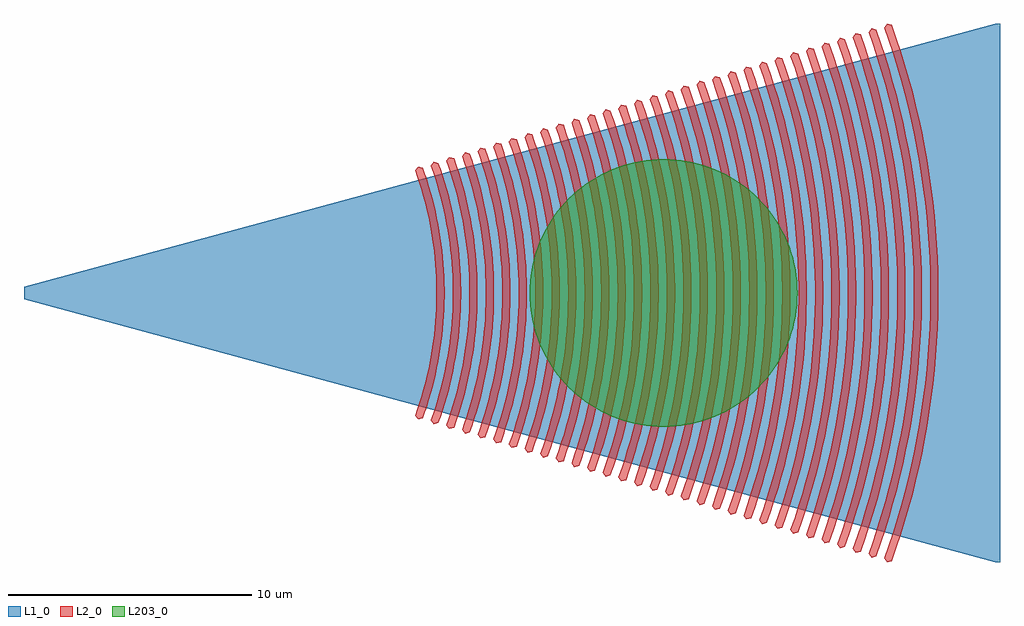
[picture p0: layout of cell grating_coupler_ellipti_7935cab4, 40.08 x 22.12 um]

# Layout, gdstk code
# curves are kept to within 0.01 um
import gdstk
lib = gdstk.Library(unit=1e-6, precision=1e-09)
def P(c, l, *ps):  # polygons
    for p in ps: c.add(gdstk.Polygon(p, *l))
L1_0 = (1, 0)
L2_0 = (2, 0)
L203_0 = (203, 0)

circle_layer203_0_radius = lib.new_cell('circle_layer203_0_radius5p5')
P(circle_layer203_0_radius, L203_0, [(5.5,0),(5.495,0.24),(5.453,0.718),(5.37,1.19),(5.245,1.654),(5.081,2.105),(4.879,2.54),(4.639,2.955),(4.505,3.155),(4.213,3.535),(3.889,3.889),(3.535,4.213),(3.155,4.505),(2.955,4.639),(2.54,4.879),(2.105,5.081),(1.654,5.245),(1.19,5.37),(0.718,5.453),(0.24,5.495),(0,5.5),(-0.24,5.495),(-0.718,5.453),(-1.19,5.37),(-1.654,5.245),(-2.105,5.081),(-2.54,4.879),(-2.955,4.639),(-3.155,4.505),(-3.535,4.213),(-3.889,3.889),(-4.213,3.535),(-4.505,3.155),(-4.639,2.955),(-4.879,2.54),(-5.081,2.105),(-5.245,1.654),(-5.37,1.19),(-5.453,0.718),(-5.495,0.24),(-5.5,0),(-5.495,-0.24),(-5.453,-0.718),(-5.37,-1.19),(-5.245,-1.654),(-5.081,-2.105),(-4.879,-2.54),(-4.639,-2.955),(-4.505,-3.155),(-4.213,-3.535),(-3.889,-3.889),(-3.535,-4.213),(-3.155,-4.505),(-2.955,-4.639),(-2.54,-4.879),(-2.105,-5.081),(-1.654,-5.245),(-1.19,-5.37),(-0.718,-5.453),(-0.24,-5.495),(0,-5.5),(0.24,-5.495),(0.718,-5.453),(1.19,-5.37),(1.654,-5.245),(2.105,-5.081),(2.54,-4.879),(2.955,-4.639),(3.155,-4.505),(3.535,-4.213),(3.889,-3.889),(4.213,-3.535),(4.505,-3.155),(4.639,-2.955),(4.879,-2.54),(5.081,-2.105),(5.245,-1.654),(5.37,-1.19),(5.453,-0.718),(5.495,-0.24)])

grating_coupler_ellipti_ = lib.new_cell('grating_coupler_ellipti_7935cab4')
P(grating_coupler_ellipti_, L1_0, [(0.471,-0.25),(0.471,0.25),(40.352,11.062),(40.552,11.062),(40.552,-11.062),(40.352,-11.062)])
P(grating_coupler_ellipti_, L2_0, [(16.657,-5.191),(16.536,-5.031),(16.783,-4.28),(16.925,-3.773),(17.155,-2.746),(17.279,-1.967),(17.339,-1.444),(17.381,-0.92),(17.409,-0.131),(17.381,0.92),(17.279,1.967),(17.155,2.746),(16.989,3.518),(16.783,4.28),(16.536,5.031),(16.657,5.191),(16.85,5.141),(17.177,4.117),(17.374,3.334),(17.529,2.542),(17.642,1.744),(17.713,0.94),(17.742,0.134),(17.728,-0.672),(17.671,-1.476),(17.572,-2.277),(17.43,-3.071),(17.177,-4.117),(16.85,-5.141)],
  [(17.299,-5.386),(17.178,-5.227),(17.434,-4.446),(17.649,-3.654),(17.821,-2.853),(17.912,-2.314),(18.037,-1.228),(18.085,-0.137),(18.08,0.41),(18.037,1.228),(17.912,2.314),(17.821,2.853),(17.649,3.654),(17.434,4.446),(17.178,5.227),(17.299,5.386),(17.492,5.336),(17.671,4.808),(17.831,4.273),(18.036,3.461),(18.197,2.639),(18.315,1.81),(18.388,0.976),(18.418,0.14),(18.403,-0.697),(18.344,-1.533),(18.241,-2.363),(18.094,-3.188),(17.831,-4.273),(17.671,-4.808),(17.492,-5.336)],
  [(17.941,-5.582),(17.82,-5.422),(18.086,-4.612),(18.239,-4.066),(18.432,-3.238),(18.581,-2.4),(18.656,-1.838),(18.711,-1.274),(18.761,-0.142),(18.756,0.425),(18.711,1.274),(18.656,1.838),(18.581,2.4),(18.432,3.238),(18.239,4.066),(18.086,4.612),(17.82,5.422),(17.941,5.582),(18.134,5.532),(18.405,4.708),(18.698,3.588),(18.865,2.736),(18.987,1.876),(19.063,1.012),(19.094,0.145),(19.079,-0.723),(19.017,-1.589),(18.911,-2.45),(18.758,-3.305),(18.632,-3.87),(18.485,-4.43),(18.319,-4.985),(18.134,-5.532)],
  [(18.583,-5.778),(18.462,-5.618),(18.737,-4.779),(18.968,-3.928),(19.153,-3.066),(19.251,-2.487),(19.328,-1.905),(19.385,-1.32),(19.421,-0.734),(19.437,-0.147),(19.432,0.44),(19.406,1.027),(19.359,1.613),(19.251,2.487),(19.153,3.066),(18.968,3.928),(18.737,4.779),(18.462,5.618),(18.583,5.778),(18.777,5.727),(18.968,5.161),(19.14,4.586),(19.291,4.006),(19.422,3.422),(19.58,2.537),(19.691,1.645),(19.754,0.749),(19.77,0.15),(19.754,-0.749),(19.691,-1.645),(19.58,-2.537),(19.422,-3.422),(19.291,-4.006),(19.14,-4.586),(18.968,-5.161),(18.777,-5.727)],
  [(19.225,-5.973),(19.104,-5.814),(19.389,-4.945),(19.553,-4.36),(19.76,-3.471),(19.92,-2.574),(20,-1.971),(20.059,-1.366),(20.097,-0.759),(20.113,-0.152),(20.107,0.456),(20.081,1.063),(20.033,1.669),(19.92,2.574),(19.76,3.471),(19.553,4.36),(19.389,4.945),(19.104,5.814),(19.225,5.973),(19.419,5.923),(19.617,5.337),(19.794,4.743),(19.951,4.143),(20.087,3.538),(20.25,2.623),(20.364,1.701),(20.413,1.084),(20.446,0.155),(20.429,-0.774),(20.364,-1.701),(20.25,-2.623),(20.087,-3.538),(19.951,-4.143),(19.794,-4.743),(19.617,-5.337),(19.419,-5.923)],
  [(19.867,-6.169),(19.746,-6.009),(20.041,-5.112),(20.287,-4.202),(20.485,-3.28),(20.59,-2.66),(20.673,-2.037),(20.733,-1.412),(20.772,-0.785),(20.789,-0.157),(20.783,0.471),(20.756,1.099),(20.673,2.037),(20.59,2.66),(20.485,3.28),(20.287,4.202),(20.041,5.112),(19.746,6.009),(19.867,6.169),(20.061,6.119),(20.265,5.513),(20.449,4.9),(20.611,4.28),(20.751,3.655),(20.919,2.71),(21.037,1.757),(21.105,0.8),(21.122,0.16),(21.105,-0.8),(21.037,-1.757),(20.919,-2.71),(20.751,-3.655),(20.611,-4.28),(20.449,-4.9),(20.265,-5.513),(20.061,-6.119)],
  [(20.509,-6.364),(20.388,-6.205),(20.692,-5.278),(20.947,-4.338),(21.089,-3.705),(21.259,-2.747),(21.345,-2.104),(21.408,-1.458),(21.448,-0.811),(21.465,-0.162),(21.448,0.811),(21.408,1.458),(21.345,2.104),(21.259,2.747),(21.089,3.705),(20.947,4.338),(20.692,5.278),(20.388,6.205),(20.509,6.364),(20.703,6.314),(20.914,5.689),(21.103,5.056),(21.27,4.417),(21.415,3.772),(21.589,2.797),(21.711,1.813),(21.763,1.155),(21.798,0.165),(21.78,-0.825),(21.711,-1.813),(21.589,-2.797),(21.415,-3.772),(21.27,-4.417),(21.103,-5.056),(20.914,-5.689),(20.703,-6.314)],
  [(21.151,-6.56),(21.03,-6.4),(21.245,-5.765),(21.525,-4.8),(21.753,-3.822),(21.929,-2.833),(22.017,-2.17),(22.082,-1.504),(22.123,-0.836),(22.141,-0.167),(22.135,0.502),(22.082,1.504),(22.017,2.17),(21.929,2.833),(21.753,3.822),(21.525,4.8),(21.344,5.445),(21.03,6.4),(21.151,6.56),(21.345,6.51),(21.562,5.866),(21.758,5.213),(21.93,4.554),(22.079,3.889),(22.258,2.883),(22.384,1.87),(22.438,1.191),(22.474,0.17),(22.456,-0.851),(22.384,-1.87),(22.306,-2.546),(22.145,-3.555),(22.007,-4.222),(21.847,-4.884),(21.663,-5.54),(21.456,-6.189),(21.345,-6.51)],
  [(21.793,-6.756),(21.672,-6.596),(21.894,-5.941),(22.182,-4.946),(22.417,-3.939),(22.598,-2.92),(22.689,-2.236),(22.756,-1.55),(22.798,-0.862),(22.817,-0.172),(22.811,0.517),(22.756,1.55),(22.689,2.236),(22.598,2.92),(22.417,3.939),(22.182,4.946),(21.996,5.611),(21.672,6.596),(21.793,6.756),(21.987,6.705),(22.102,6.375),(22.315,5.706),(22.504,5.031),(22.743,4.006),(22.928,2.97),(23.02,2.275),(23.113,1.227),(23.15,0.175),(23.144,-0.526),(23.088,-1.576),(22.977,-2.623),(22.811,-3.662),(22.669,-4.349),(22.504,-5.031),(22.315,-5.706),(22.102,-6.375),(21.987,-6.705)],
  [(22.435,-6.951),(22.314,-6.792),(22.647,-5.777),(22.926,-4.749),(23.081,-4.056),(23.268,-3.007),(23.361,-2.303),(23.43,-1.596),(23.474,-0.887),(23.493,-0.178),(23.474,0.887),(23.43,1.596),(23.361,2.303),(23.268,3.007),(23.081,4.056),(22.926,4.749),(22.647,5.777),(22.314,6.792),(22.435,6.951),(22.629,6.901),(22.747,6.561),(23.067,5.526),(23.249,4.827),(23.407,4.123),(23.54,3.413),(23.692,2.341),(23.788,1.262),(23.826,0.18),(23.807,-0.902),(23.762,-1.622),(23.648,-2.699),(23.477,-3.768),(23.331,-4.476),(23.161,-5.177),(22.86,-6.218),(22.629,-6.901)],
  [(23.077,-7.147),(22.956,-6.987),(23.299,-5.944),(23.496,-5.24),(23.745,-4.172),(23.937,-3.093),(24.034,-2.369),(24.104,-1.642),(24.149,-0.913),(24.169,-0.183),(24.162,0.548),(24.13,1.278),(24.034,2.369),(23.937,3.093),(23.745,4.172),(23.496,5.24),(23.299,5.944),(22.956,6.987),(23.077,7.147),(23.271,7.097),(23.392,6.747),(23.721,5.683),(23.909,4.964),(24.071,4.239),(24.267,3.143),(24.404,2.038),(24.482,0.928),(24.502,0.186),(24.482,-0.928),(24.404,-2.038),(24.267,-3.143),(24.143,-3.875),(23.909,-4.964),(23.721,-5.683),(23.508,-6.394),(23.271,-7.097)],
  [(23.719,-7.342),(23.598,-7.183),(23.84,-6.469),(24.153,-5.387),(24.409,-4.289),(24.607,-3.18),(24.706,-2.435),(24.778,-1.688),(24.825,-0.938),(24.845,-0.188),(24.838,0.563),(24.805,1.313),(24.706,2.435),(24.607,3.18),(24.409,4.289),(24.153,5.387),(23.84,6.469),(23.598,7.183),(23.719,7.342),(23.913,7.292),(24.038,6.933),(24.376,5.839),(24.569,5.101),(24.735,4.356),(24.876,3.606),(25.037,2.474),(25.137,1.334),(25.178,0.191),(25.157,-0.953),(25.077,-2.094),(24.99,-2.852),(24.809,-3.982),(24.569,-5.101),(24.376,-5.839),(24.157,-6.57),(23.913,-7.292)],
  [(24.361,-7.538),(24.24,-7.379),(24.602,-6.277),(24.905,-5.159),(25.148,-4.027),(25.276,-3.267),(25.378,-2.502),(25.453,-1.734),(25.5,-0.964),(25.521,-0.193),(25.514,0.579),(25.453,1.734),(25.378,2.502),(25.276,3.267),(25.148,4.027),(24.905,5.159),(24.602,6.277),(24.24,7.379),(24.361,7.538),(24.555,7.488),(24.683,7.119),(24.921,6.372),(25.133,5.618),(25.399,4.473),(25.544,3.703),(25.709,2.54),(25.812,1.37),(25.854,0.196),(25.847,-0.587),(25.785,-1.76),(25.661,-2.929),(25.475,-4.089),(25.317,-4.856),(25.133,-5.618),(24.805,-6.747),(24.555,-7.488)],
  [(25.003,-7.734),(24.882,-7.574),(25.254,-6.443),(25.564,-5.296),(25.814,-4.134),(25.946,-3.353),(26.05,-2.568),(26.127,-1.78),(26.176,-0.99),(26.197,-0.198),(26.19,0.594),(26.155,1.385),(26.092,2.174),(25.946,3.353),(25.814,4.134),(25.564,5.296),(25.254,6.443),(24.882,7.574),(25.003,7.734),(25.197,7.684),(25.329,7.305),(25.685,6.152),(25.888,5.374),(26.064,4.59),(26.212,3.8),(26.381,2.606),(26.487,1.405),(26.53,0.201),(26.523,-0.603),(26.459,-1.806),(26.332,-3.005),(26.141,-4.195),(25.979,-4.983),(25.79,-5.764),(25.454,-6.923),(25.197,-7.684)],
  [(25.645,-7.929),(25.524,-7.77),(25.785,-6.998),(26.125,-5.827),(26.402,-4.64),(26.615,-3.44),(26.722,-2.634),(26.801,-1.826),(26.851,-1.015),(26.873,-0.203),(26.865,0.609),(26.83,1.421),(26.765,2.231),(26.615,3.44),(26.402,4.64),(26.125,5.827),(25.785,6.998),(25.524,7.77),(25.645,7.929),(25.839,7.879),(25.974,7.491),(26.224,6.705),(26.447,5.911),(26.728,4.707),(26.945,3.49),(27.097,2.263),(27.184,1.03),(27.206,0.206),(27.184,-1.03),(27.097,-2.263),(26.945,-3.49),(26.807,-4.302),(26.548,-5.511),(26.339,-6.309),(26.103,-7.099),(25.839,-7.879)],
  [(26.287,-8.125),(26.167,-7.965),(26.557,-6.776),(26.884,-5.57),(27.066,-4.756),(27.285,-3.526),(27.395,-2.701),(27.475,-1.872),(27.527,-1.041),(27.549,-0.208),(27.541,0.625),(27.505,1.456),(27.439,2.287),(27.285,3.526),(27.066,4.756),(26.884,5.57),(26.557,6.776),(26.167,7.965),(26.287,8.125),(26.481,8.075),(26.619,7.677),(26.994,6.466),(27.207,5.648),(27.392,4.824),(27.614,3.576),(27.77,2.319),(27.837,1.477),(27.882,0.211),(27.859,-1.055),(27.77,-2.319),(27.614,-3.576),(27.473,-4.409),(27.303,-5.237),(27.104,-6.058),(26.751,-7.275),(26.481,-8.075)],
  [(26.929,-8.32),(26.809,-8.161),(27.209,-6.942),(27.439,-6.12),(27.73,-4.873),(27.887,-4.034),(28.014,-3.191),(28.112,-2.343),(28.202,-1.066),(28.225,-0.213),(28.202,1.066),(28.149,1.918),(28.067,2.767),(27.954,3.613),(27.73,4.873),(27.439,6.12),(27.209,6.942),(26.809,8.161),(26.929,8.32),(27.123,8.27),(27.265,7.863),(27.648,6.622),(27.867,5.785),(28.056,4.94),(28.284,3.663),(28.398,2.805),(28.512,1.513),(28.558,0.216),(28.535,-1.081),(28.443,-2.375),(28.284,-3.663),(28.139,-4.516),(27.867,-5.785),(27.648,-6.622),(27.4,-7.452),(27.123,-8.27)],
  [(27.571,-8.516),(27.451,-8.357),(27.731,-7.527),(28.096,-6.267),(28.394,-4.99),(28.555,-4.131),(28.739,-2.833),(28.824,-1.964),(28.877,-1.092),(28.901,-0.218),(28.893,0.655),(28.824,1.964),(28.739,2.833),(28.624,3.7),(28.394,4.99),(28.203,5.843),(27.86,7.109),(27.451,8.357),(27.571,8.516),(27.765,8.466),(27.91,8.049),(28.303,6.779),(28.526,5.922),(28.72,5.057),(28.953,3.749),(29.117,2.431),(29.187,1.549),(29.234,0.221),(29.21,-1.106),(29.117,-2.431),(28.953,-3.749),(28.805,-4.623),(28.627,-5.49),(28.418,-6.351),(28.048,-7.628),(27.765,-8.466)],
  [(28.213,-8.712),(28.093,-8.552),(28.38,-7.703),(28.753,-6.414),(29.058,-5.107),(29.223,-4.228),(29.356,-3.344),(29.498,-2.01),(29.553,-1.117),(29.577,-0.224),(29.569,0.671),(29.498,2.01),(29.411,2.9),(29.293,3.786),(29.058,5.107),(28.753,6.414),(28.38,7.703),(28.093,8.552),(28.213,8.712),(28.407,8.662),(28.556,8.235),(28.957,6.935),(29.186,6.058),(29.384,5.174),(29.623,3.836),(29.79,2.487),(29.886,1.132),(29.91,0.226),(29.886,-1.132),(29.83,-2.036),(29.686,-3.387),(29.471,-4.729),(29.186,-6.058),(28.957,-6.935),(28.697,-7.804),(28.407,-8.662)],
  [(28.856,-8.907),(28.735,-8.748),(29.163,-7.442),(29.522,-6.117),(29.722,-5.224),(29.963,-3.873),(30.083,-2.966),(30.172,-2.056),(30.228,-1.143),(30.252,-0.229),(30.244,0.686),(30.172,2.056),(30.083,2.966),(29.963,3.873),(29.722,5.224),(29.522,6.117),(29.163,7.442),(28.735,8.748),(28.856,8.907),(29.049,8.857),(29.201,8.421),(29.482,7.537),(29.733,6.645),(30.048,5.291),(30.292,3.923),(30.463,2.544),(30.537,1.62),(30.585,0.232),(30.561,-1.158),(30.504,-2.082),(30.357,-3.464),(30.138,-4.836),(29.951,-5.744),(29.733,-6.645),(29.346,-7.98),(29.049,-8.857)],
  [(29.498,-9.103),(29.377,-8.943),(29.815,-7.608),(30.067,-6.707),(30.288,-5.798),(30.558,-4.421),(30.698,-3.497),(30.805,-2.567),(30.904,-1.168),(30.928,-0.234),(30.92,0.701),(30.879,1.635),(30.756,3.032),(30.632,3.959),(30.476,4.882),(30.182,6.254),(29.815,7.608),(29.377,8.943),(29.498,9.103),(29.691,9.053),(29.846,8.607),(30.134,7.704),(30.39,6.791),(30.712,5.408),(30.962,4.009),(31.086,3.071),(31.211,1.656),(31.261,0.237),(31.253,-0.71),(31.178,-2.128),(31.028,-3.54),(30.804,-4.943),(30.613,-5.871),(30.39,-6.791),(29.994,-8.156),(29.691,-9.053)],
  [(30.14,-9.299),(30.019,-9.139),(30.326,-8.232),(30.725,-6.854),(30.95,-5.925),(31.226,-4.518),(31.369,-3.573),(31.478,-2.624),(31.554,-1.671),(31.604,-0.239),(31.596,0.717),(31.554,1.671),(31.428,3.099),(31.302,4.046),(31.05,5.457),(30.725,6.854),(30.326,8.232),(30.019,9.139),(30.14,9.299),(30.333,9.248),(30.643,8.333),(31.047,6.938),(31.377,5.525),(31.631,4.096),(31.81,2.656),(31.912,1.209),(31.937,0.242),(31.912,-1.209),(31.81,-2.656),(31.631,-4.096),(31.47,-5.05),(31.275,-5.998),(31.047,-6.938),(30.643,-8.333),(30.333,-9.248)],
  [(30.782,-9.494),(30.661,-9.335),(30.974,-8.408),(31.382,-7.001),(31.612,-6.052),(31.894,-4.615),(32.1,-3.165),(32.194,-2.194),(32.255,-1.22),(32.28,-0.244),(32.272,0.732),(32.229,1.707),(32.1,3.165),(31.971,4.133),(31.714,5.574),(31.382,7.001),(30.974,8.408),(30.661,9.335),(30.782,9.494),(30.975,9.444),(31.291,8.509),(31.704,7.085),(32.041,5.641),(32.301,4.182),(32.431,3.203),(32.561,1.727),(32.613,0.247),(32.587,-1.234),(32.483,-2.712),(32.301,-4.182),(32.136,-5.157),(31.825,-6.606),(31.575,-7.562),(31.291,-8.509),(30.975,-9.444)],
  [(31.424,-9.69),(31.303,-9.53),(31.623,-8.584),(32.039,-7.147),(32.379,-5.691),(32.562,-4.711),(32.711,-3.726),(32.869,-2.24),(32.93,-1.245),(32.956,-0.249),(32.948,0.747),(32.869,2.24),(32.772,3.231),(32.641,4.219),(32.475,5.202),(32.161,6.664),(31.77,8.107),(31.303,9.53),(31.424,9.69),(31.617,9.64),(31.94,8.685),(32.361,7.232),(32.705,5.758),(32.97,4.269),(33.103,3.27),(33.236,1.763),(33.289,0.252),(33.281,-0.756),(33.201,-2.266),(33.041,-3.77),(32.802,-5.263),(32.599,-6.251),(32.361,-7.232),(31.94,-8.685),(31.617,-9.64)],
  [(32.066,-9.885),(31.945,-9.726),(32.422,-8.274),(32.696,-7.294),(33.043,-5.808),(33.23,-4.808),(33.382,-3.802),(33.543,-2.286),(33.605,-1.271),(33.632,-0.254),(33.623,0.763),(33.579,1.778),(33.498,2.792),(33.31,4.306),(33.043,5.808),(32.696,7.294),(32.422,8.274),(31.945,9.726),(32.066,9.885),(32.259,9.835),(32.589,8.861),(33.018,7.378),(33.369,5.875),(33.64,4.356),(33.775,3.336),(33.911,1.799),(33.965,0.257),(33.938,-1.285),(33.875,-2.312),(33.712,-3.846),(33.468,-5.37),(33.144,-6.879),(32.884,-7.875),(32.589,-8.861),(32.259,-9.835)],
  [(32.708,-10.081),(32.587,-9.921),(32.92,-8.936),(33.353,-7.441),(33.707,-5.925),(33.898,-4.905),(34.117,-3.364),(34.217,-2.332),(34.281,-1.296),(34.308,-0.259),(34.281,1.296),(34.217,2.332),(34.117,3.364),(33.98,4.393),(33.807,5.416),(33.48,6.938),(33.073,8.44),(32.587,9.921),(32.708,10.081),(32.901,10.031),(33.237,9.037),(33.675,7.525),(34.033,5.992),(34.309,4.442),(34.503,2.881),(34.614,1.311),(34.641,0.262),(34.614,-1.311),(34.503,-2.881),(34.383,-3.923),(34.134,-5.477),(33.804,-7.016),(33.538,-8.032),(33.237,-9.037),(32.901,-10.031)],
  [(33.35,-10.277),(33.229,-10.117),(33.569,-9.113),(34.01,-7.587),(34.26,-6.559),(34.566,-5.002),(34.724,-3.955),(34.845,-2.904),(34.956,-1.322),(34.984,-0.264),(34.975,0.793),(34.891,2.378),(34.789,3.43),(34.649,4.479),(34.473,5.522),(34.14,7.074),(33.725,8.607),(33.229,10.117),(33.35,10.277),(33.544,10.226),(33.886,9.214),(34.333,7.672),(34.697,6.109),(34.979,4.529),(35.12,3.469),(35.261,1.871),(35.317,0.267),(35.289,-1.337),(35.176,-2.937),(34.979,-4.529),(34.8,-5.584),(34.585,-6.632),(34.333,-7.672),(33.886,-9.214),(33.544,-10.226)],
  [(33.992,-10.472),(33.871,-10.313),(34.217,-9.289),(34.668,-7.734),(34.922,-6.686),(35.234,-5.098),(35.395,-4.032),(35.518,-2.961),(35.632,-1.347),(35.66,-0.27),(35.651,0.809),(35.603,1.886),(35.518,2.961),(35.319,4.566),(35.035,6.158),(34.668,7.734),(34.217,9.289),(33.871,10.313),(33.992,10.472),(34.186,10.422),(34.695,8.869),(35.123,7.29),(35.466,5.691),(35.725,4.076),(35.849,2.993),(35.936,1.906),(35.984,0.817),(35.993,0.272),(35.984,-0.817),(35.936,-1.906),(35.897,-2.45),(35.725,-4.076),(35.466,-5.691),(35.123,-7.29),(34.695,-8.869),(34.186,-10.422)],
  [(34.634,-10.668),(34.513,-10.508),(34.866,-9.465),(35.325,-7.881),(35.584,-6.813),(35.901,-5.195),(36.065,-4.108),(36.191,-3.017),(36.278,-1.922),(36.327,-0.824),(36.336,-0.275),(36.327,0.824),(36.278,1.922),(36.191,3.017),(35.988,4.652),(35.699,6.275),(35.584,6.813),(35.325,7.881),(34.866,9.465),(34.513,10.508),(34.634,10.668),(34.828,10.618),(35.347,9.035),(35.783,7.426),(36.132,5.797),(36.23,5.251),(36.396,4.152),(36.523,3.049),(36.611,1.942),(36.669,0.278),(36.64,-1.388),(36.523,-3.049),(36.396,-4.152),(36.23,-5.251),(36.132,-5.797),(35.783,-7.426),(35.347,-9.035),(34.828,-10.618)],
  [(35.276,-10.863),(35.155,-10.704),(35.34,-10.173),(35.68,-9.106),(35.982,-8.028),(36.246,-6.939),(36.569,-5.292),(36.658,-4.739),(36.805,-3.63),(36.914,-2.516),(36.983,-1.399),(37.012,-0.28),(36.983,1.399),(36.914,2.516),(36.805,3.63),(36.658,4.739),(36.471,5.843),(36.119,7.485),(35.68,9.106),(35.34,10.173),(35.155,10.704),(35.276,10.863),(35.47,10.813),(35.999,9.202),(36.304,8.112),(36.442,7.563),(36.571,7.012),(36.798,5.904),(36.987,4.789),(37.196,3.105),(37.246,2.542),(37.315,1.413),(37.345,0.283),(37.335,-0.848),(37.246,-2.542),(37.136,-3.668),(37.066,-4.229),(36.898,-5.347),(36.798,-5.904),(36.571,-7.012),(36.442,-7.563),(36.304,-8.112),(35.999,-9.202),(35.47,-10.813)],
  [(35.918,-11.059),(35.797,-10.9),(36.163,-9.817),(36.49,-8.725),(36.639,-8.174),(36.908,-7.066),(37.237,-5.388),(37.407,-4.261),(37.538,-3.129),(37.628,-1.993),(37.678,-0.855),(37.688,-0.285),(37.678,0.855),(37.588,2.562),(37.477,3.696),(37.327,4.826),(37.137,5.95),(37.027,6.509),(36.908,7.066),(36.639,8.174),(36.49,8.725),(36.163,9.817),(35.797,10.9),(35.918,11.059),(36.112,11.009),(36.301,10.466),(36.65,9.368),(36.811,8.815),(37.102,7.7),(37.233,7.139),(37.465,6.011),(37.566,5.444),(37.737,4.305),(37.869,3.161),(37.92,2.588),(37.991,1.439),(38.021,0.288),(38.021,-0.288),(37.991,-1.439),(37.92,-2.588),(37.808,-3.734),(37.737,-4.305),(37.566,-5.444),(37.465,-6.011),(37.354,-6.576),(37.102,-7.7),(36.811,-8.815),(36.65,-9.368),(36.301,-10.466),(36.112,-11.009)])
grating_coupler_ellipti_.add(gdstk.Reference(circle_layer203_0_radius, (26.74,0)))

lib.write_gds('grating_coupler_ellipti_7935cab4.gds')
